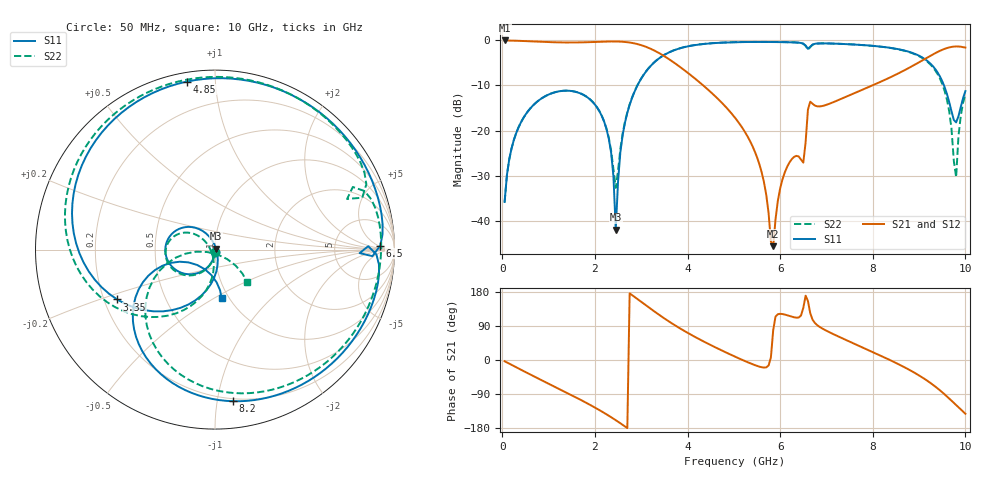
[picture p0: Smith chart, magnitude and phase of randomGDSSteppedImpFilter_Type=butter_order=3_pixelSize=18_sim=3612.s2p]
! freq	dB(S11)	phase(S11)	dB(S12)	phase(S12)
!  dB(S21)	phase(S21)	dB(S22)	phase(S22)
!S-par simulation data
#  GHz  S  DB  R 50
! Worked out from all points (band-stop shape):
!   200 points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, 50 MHz to 10 GHz, reference 50 ohm
!   highest |S21| = -0.01 dB at 50 MHz (marker M1); lowest = -45.7 dB at 5.85 GHz (marker M2)
!   |S21| within 3 dB of the highest: start of sweep to 3.42 GHz; 9.316 GHz to end of sweep
!   lowest |S11| = -42.0 dB at 2.45 GHz (marker M3), VSWR 1.02, Z = 50.6 + j0.483 ohm
!   |S11| at or under -10 dB: start of sweep to 2.919 GHz; 9.538 GHz to end of sweep
!   |S22| runs from -35.9 to -0.3 dB; largest |S21 - S12| = 0
!   S11 on the Smith chart (normalised r, x): 50 MHz: 1.00, -0.03; 3.35 GHz: 0.25, -0.23; 4.85 GHz: 0.04, +0.85; 6.5 GHz: 22, +7; 8.2 GHz: 0.18, -1.11; 10 GHz: 0.92, -0.54
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0.05  -35.86 -93.3  -0.01 -3.3  -0.01 -3.3  -35.85 -93.1
0.55  -15.78 -126.3  -0.17 -34.9  -0.17 -34.9  -15.77 -124.3
1.75  -12.06 157.0  -0.42 -108.9  -0.42 -108.9  -12.06 165.3
2.25  -19.68 119.1  -0.25 -143.3  -0.25 -143.3  -19.56 139.5
2.45  -41.98 36.8  -0.23 -158.8  -0.23 -158.8  -32.74 -161.9
2.55  -24.78 -74.3  -0.27 -167.0  -0.27 -167.0  -24.06 -97.2
2.7  -16.06 -91.8  -0.39 -179.7  -0.39 -179.7  -15.92 -96.3
3.35  -4.27 -153.0  -2.60 122.4  -2.60 122.4  -4.24 -146.0
3.4  -3.88 -157.4  -2.89 118.1  -2.89 118.1  -3.85 -150.0
4  -1.33 154.8  -7.15 71.8  -7.15 71.8  -1.31 166.3
4.85  -0.45 99.5  -15.03 18.8  -15.03 18.8  -0.44 116.1
5.05  -0.39 87.5  -17.48 7.5  -17.48 7.5  -0.38 105.2
5.55  -0.34 58.3  -27.43 -17.5  -27.43 -17.5  -0.33 78.3
5.85  -0.35 41.0  -45.66 79.0  -45.66 79.0  -0.34 62.1
6.1  -0.39 26.6  -29.29 119.9  -29.29 119.9  -0.38 48.3
6.5  -0.71 1.4  -27.12 137.5  -27.12 137.5  -0.74 23.4
6.7  -0.92 -1.7  -14.06 106.4  -14.06 106.4  -0.96 21.3
8.2  -1.40 -83.2  -9.04 9.8  -9.04 9.8  -1.42 -64.9
8.35  -1.60 -91.1  -8.33 1.1  -8.33 1.1  -1.62 -73.6
9.45  -8.00 -158.7  -2.30 -80.0  -2.30 -80.0  -8.46 -154.5
9.8  -18.19 -117.2  -1.34 -119.0  -1.34 -119.0  -30.37 -62.8
10  -11.25 -82.3  -1.59 -141.8  -1.59 -141.8  -11.86 -45.4
